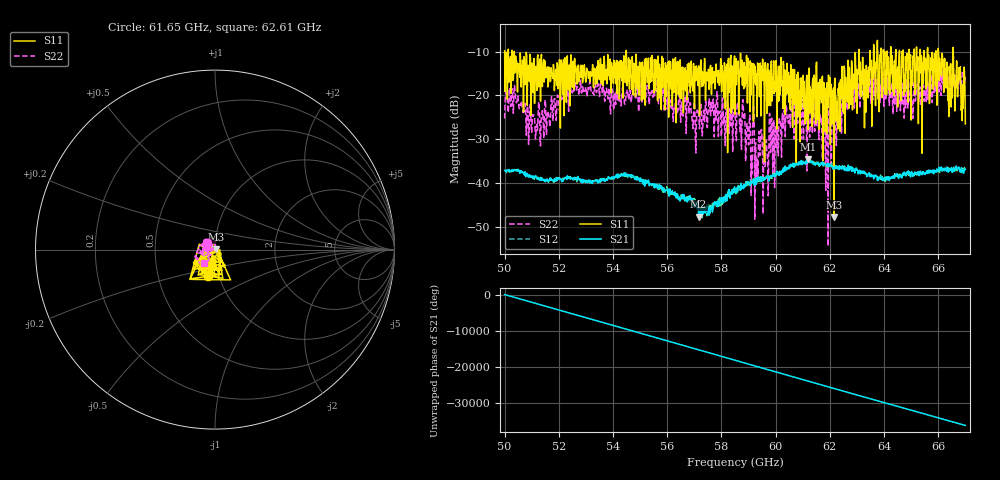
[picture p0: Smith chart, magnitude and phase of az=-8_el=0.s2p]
!Created with skrf (http://scikit-rf.org).
# GHz S RI R 50.0
!freq ReS11 ImS11 ReS21 ImS21 ReS12 ImS12 ReS22 ImS22
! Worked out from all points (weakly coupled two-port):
!   1001 points, 50 GHz to 67 GHz, reference 50 ohm
!   highest |S21| = -34.58 dB at 61.19 GHz (marker M1); lowest = -47.7 dB at 57.16 GHz (marker M2)
!   lowest |S11| = -47.8 dB at 62.16 GHz (marker M3), VSWR 1.01, Z = 50.4 + j0.1 ohm
!   |S11| at or under -10 dB: 50.36 GHz to 54.49 GHz (4.13 GHz wide, 7.88 % of centre); 54.49 GHz to 63.07 GHz (8.582 GHz wide, 14.6 % of centre); 66.01 GHz to 66.54 GHz (532.9 MHz wide, 0.804 % of centre) (the widest 3 of 27)
!   |S22| runs from -54.4 to -13.9 dB; largest |S21 - S12| = 0.002
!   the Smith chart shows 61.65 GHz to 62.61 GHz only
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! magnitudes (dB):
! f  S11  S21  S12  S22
! 50 GHz  -9.8  -37.1  -37.3  -25.3
! 50.42 GHz  -13.4  -37.0  -36.9  -21.7
! 51.38 GHz  -16.6  -39.0  -38.6  -24.2
! 52.84 GHz  -14.0  -39.5  -39.6  -19.4
! 55.68 GHz  -13.5  -40.8  -41.0  -21.9
! 57.16 GHz  -13.3  -47.7  -46.3  -24.0
! 58.5 GHz  -24.3  -41.6  -42.1  -24.7
! 59.13 GHz  -15.0  -39.9  -39.6  -37.9
! 59.32 GHz  -24.8  -39.7  -39.4  -34.5
! 60.64 GHz  -14.0  -35.4  -36.1  -22.4
! 61.19 GHz  -25.4  -34.6  -35.4  -22.0
! 61.34 GHz  -27.0  -35.0  -35.2  -26.0
! 61.88 GHz  -28.8  -35.6  -36.1  -23.1
! 62.16 GHz  -47.8  -36.3  -36.5  -28.1
! 63.01 GHz  -24.1  -36.8  -37.1  -19.9
! 63.33 GHz  -23.8  -37.9  -37.8  -19.1
! 63.69 GHz  -22.3  -38.3  -38.5  -16.4
! 64.18 GHz  -18.6  -38.6  -39.0  -18.9
! 66.08 GHz  -15.1  -37.1  -37.0  -15.7
! 66.42 GHz  -15.1  -37.2  -36.8  -16.3
! 66.75 GHz  -17.1  -36.7  -36.4  -18.4
! 67 GHz  -26.5  -36.8  -36.9  -15.7
